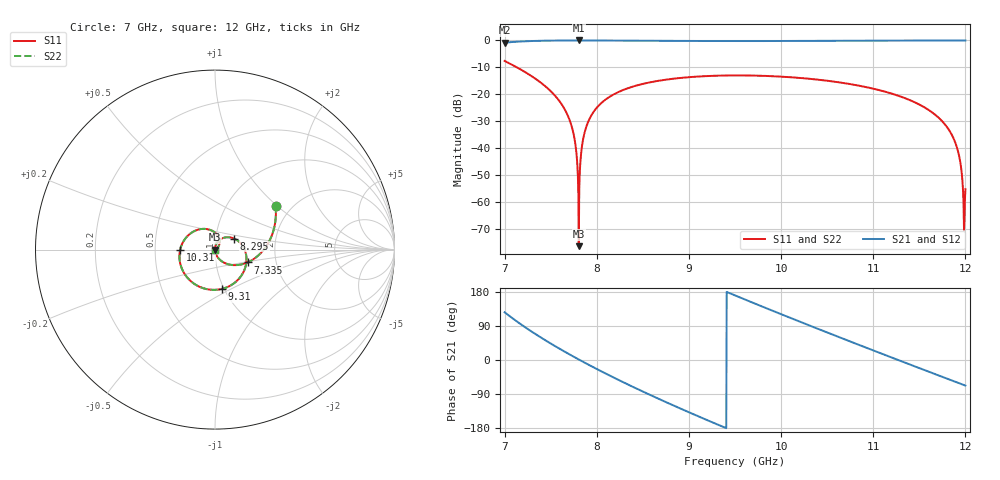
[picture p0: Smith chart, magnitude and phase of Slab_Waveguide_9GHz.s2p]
! TOUCHSTONE file generated by CST MICROWAVE STUDIO
! Date and time: Thu Nov 19 22:17:02 2026
! Project name: Slab_Waveguide_9GHz.cst
! Parameters = {eps_r=2.1; l_slab=25; t_slab=3; length=60; b=10.16; a=22.86}
! Header version: 2024
! Port assignment regex: !\s*Touchstone port\s*([0-9]+)\s*=\s*(CST MWS port|CST DES external port|CST DES block port)\s*(.+)\s* \(\"(.*)\"\)(\s*mode\s*([0-9]+))?.*
! Touchstone port assignment:
! Touchstone port 1 = CST MWS port 1 ("")
! Touchstone port 2 = CST MWS port 2 ("")
! S-Parameters are not renormalized. Unphysical impedance of 50 will be written to the file.
# GHz S DB R 50
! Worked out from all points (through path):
!   1001 points, 7 GHz to 12 GHz, reference per port
!   highest |S21| = 0.00 dB at 7.805 GHz (marker M1); lowest = -0.8 dB at 7 GHz (marker M2)
!   lowest |S11| = -76.3 dB at 7.805 GHz (marker M3), VSWR 1.00
!   |S11| at or under -10 dB: 7.134 GHz to end of sweep
!   |S22| runs from -75.5 to -7.6 dB; largest |S21 - S12| = 0.00088
!   S11 on the Smith chart (normalised r, x): 7 GHz: 1.66, +0.98; 7.335 GHz: 1.42, -0.21; 8.295 GHz: 1.23, +0.15; 9.31 GHz: 0.98, -0.45; 10.31 GHz: 0.67, -0.00; 12 GHz: 1.00, -0.00
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7  -7.60 36.0  -0.83 126.0  -0.83 126.0  -7.60 35.9
7.335  -14.20 -21.5  -0.17 68.4  -0.17 68.4  -14.20 -21.5
7.68  -27.41 -71.8  -0.01 18.1  -0.01 18.1  -27.42 -71.8
7.75  -34.91 -81.3  -0.00 8.6  -0.00 8.6  -34.92 -81.3
7.785  -43.99 -85.8  -0.00 4.0  -0.00 3.9  -44.01 -86.0
7.805  -76.26 80.1  -0.00 1.3  -0.00 1.3  -75.46 89.9
7.835  -40.35 87.1  -0.00 -2.6  -0.00 -2.6  -40.33 87.3
7.875  -33.25 82.0  -0.00 -7.8  -0.00 -7.9  -33.24 82.1
7.96  -26.75 71.2  -0.01 -18.7  -0.01 -18.7  -26.75 71.2
8.295  -18.25 30.3  -0.07 -59.6  -0.07 -59.6  -18.25 30.4
8.67  -14.95 -12.3  -0.14 -102.3  -0.14 -102.3  -14.95 -12.3
9.31  -13.06 -80.3  -0.22 -170.2  -0.22 -170.2  -13.06 -80.2
9.5  -12.96 -99.6  -0.23 170.5  -0.23 170.5  -12.96 -99.5
9.94  -13.31 -143.2  -0.21 126.8  -0.21 126.8  -13.31 -143.2
10.31  -14.22 -179.1  -0.17 90.9  -0.17 90.9  -14.22 -179.2
10.335  -14.30 178.5  -0.17 88.5  -0.17 88.5  -14.30 178.4
10.71  -15.95 142.7  -0.11 52.7  -0.11 52.6  -15.95 142.6
11.17  -19.39 99.4  -0.05 9.3  -0.05 9.3  -19.39 99.3
11.8  -32.09 41.4  -0.01 -49.1  -0.01 -49.2  -32.09 40.7
11.915  -40.44 31.6  -0.01 -59.7  -0.00 -59.7  -40.47 30.0
11.97  -53.08 30.7  -0.01 -64.8  0.00 -64.8  -53.24 24.1
12  -55.11 -164.2  -0.01 -67.5  -0.00 -67.5  -54.99 -156.2
